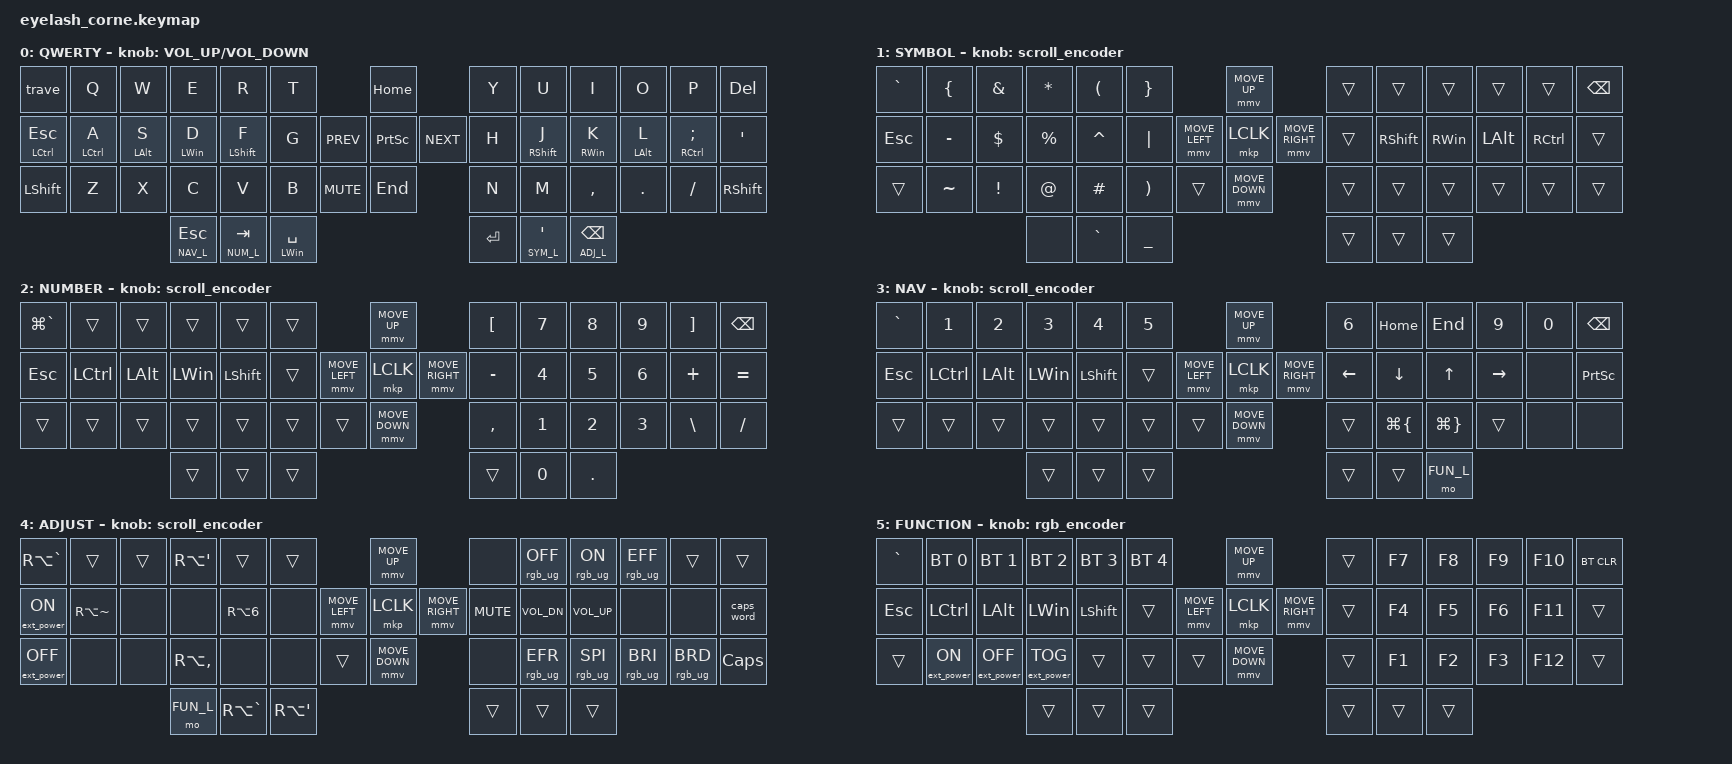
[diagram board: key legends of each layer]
/*
 * Copyright (c) 2020 The ZMK Contributors
 *
 * SPDX-License-Identifier: MIT
 */

#define ZMK_POINTING_DEFAULT_MOVE_VAL 1200  // 600
#define ZMK_POINTING_DEFAULT_SCRL_VAL 25   // 10

#include <input/processors.dtsi>
#include <zephyr/dt-bindings/input/input-event-codes.h>

#include "zmk-helpers/helper.h"
#include "zmk-helpers/key-labels/eyelash42.h"         // keyposition helpers for Eyelash Corne

#include <behaviors.dtsi>
#include <dt-bindings/zmk/keys.h>
#include <dt-bindings/zmk/bt.h>
#include <dt-bindings/zmk/outputs.h>
#include <dt-bindings/zmk/pointing.h>
#include <dt-bindings/zmk/rgb.h>
#include <dt-bindings/zmk/ext_power.h>

#define QWERTY_L 0
#define SYM_L    1
#define NUM_L    2
#define NAV_L    3
#define ADJ_L    4
#define FUN_L    5
#define Undo   LC(Z)
#define Cut    LC(X)
#define Copy   LC(C)
#define Paste  LC(V)
#define QUICK_TAP_MS 175
#define KEYS_L LB0 LB1 LB2 LB3 LB4 LB5 LM0 LM1 LM2 LM3 LM4 LM5 LT0 LT1 LT2 LT3 LT4 LT5
#define KEYS_R RB0 RB1 RB2 RB3 RB4 RB5 RM0 RM1 RM2 RM3 RM4 RM5 RT0 RT1 RT2 RT3 RT4 RT5
#define THUMBS LH2 LH1 LH0 RH0 RH1 RH2

#include "macros.dtsi"
#include "combos.dtsi"

// Configure mouse/scroll input listeners
&mmv_input_listener { input-processors = <&zip_xy_scaler 2 1>; };

&msc_input_listener { input-processors = <&zip_scroll_scaler 2 1>; };

&msc {
    acceleration-exponent = <1>;      // 0
    time-to-max-speed-ms = <100>;       // 300
    delay-ms = <0>;                   // 0
};

&mmv {
    time-to-max-speed-ms = <500>;
    acceleration-exponent = <1>;
    trigger-period-ms = <16>;
};

&soft_off { hold-time-ms = <2000>; };

// reuse basic mod-morph scheme
#define SIMPLE_MORPH(NAME, MOD, BINDING1, BINDING2) \
    ZMK_BEHAVIOR(NAME, mod_morph, \
        mods = <(MOD_L ## MOD|MOD_R ## MOD)>; \
        bindings = <BINDING1>, <BINDING2>; \
    )

SIMPLE_MORPH(lpar_lt, SFT, &kp LPAR, &kp LT)
SIMPLE_MORPH(rpar_gt, SFT, &kp RPAR, &kp GT)

#define MAKE_HRM(NAME, HOLD, TAP, TRIGGER_POS) \
    ZMK_BEHAVIOR(NAME, hold_tap, \
        flavor = "balanced"; \
        tapping-term-ms = <280>; \
        quick-tap-ms = <QUICK_TAP_MS>; \
        require-prior-idle-ms = <50>; \
        bindings = <HOLD>, <TAP>; \
        hold-trigger-key-positions = <TRIGGER_POS>; \
        hold-trigger-on-release; \
    )
MAKE_HRM(hml, &kp, &kp, KEYS_R THUMBS)  // left-hand HRMs
MAKE_HRM(hmr, &kp, &kp, KEYS_L THUMBS)  // right-hand HRMs

&caps_word {
    continue-list = <UNDERSCORE MINUS>;
};

&lt{
    flavor = "hold-preferred";
};

&mt{
    flavor = "tap-unless-interrupted";
    tapping-term-ms = <400>;
};

/ {
        behaviors {
            trave: tab_grave {
                compatible = "zmk,behavior-mod-morph";
                #binding-cells = <0>;
                bindings = <&kp TAB>, <&kp GRAVE>;

                mods = <(MOD_LCTL|MOD_RCTL)>;
            };
        };

        rgb_encoder: rgb_encoder {
            compatible = "zmk,behavior-sensor-rotate";
            #sensor-binding-cells = <0>;
            bindings = <&rgb_ug RGB_BRI>, <&rgb_ug RGB_BRD>;
        };

        scroll_encoder: scroll_encoder {
            compatible = "zmk,behavior-sensor-rotate";
            #sensor-binding-cells = <0>;
            bindings = <&msc SCRL_DOWN>, <&msc SCRL_UP>;

            tap-ms = <100>;
        };

        combos {
            compatible = "zmk,combos";

            softoff {
                bindings = <&soft_off>;
                key-positions = <1 15 29>;
            };
        };

        keymap {
                compatible = "zmk,keymap";

                default_layer {
                        display-name = "QWERTY";
                        bindings = <
//        ┌─────────────┬─────────────┬─────────────┬──────────────┬──────────────┬─────────────┐      ┌──────┐      ┌─────┬─────────────┬───────────────┬─────────────┬─────────────┬──────┐
//        │   &trave    │      Q      │      W      │      E       │      R       │      T      │      │ home │      │  Y  │      U      │       I       │      O      │      P      │ del  │
//        ├─────────────┼─────────────┼─────────────┼──────────────┼──────────────┼─────────────┼──────┼──────┼──────┼─────┼─────────────┼───────────────┼─────────────┼─────────────┼──────┤
//        │ mt lctl esc │ &hml lctl A │ &hml lalt S │ &hml lgui D  │ &hml lsft F  │      G      │ prev │ pscr │ next │  H  │ &hmr rsft J │  &hmr rgui K  │ &hmr lalt L │ &hmr rctl ; │  '   │
//        ├─────────────┼─────────────┼─────────────┼──────────────┼──────────────┼─────────────┼──────┼──────┼──────┼─────┼─────────────┼───────────────┼─────────────┼─────────────┼──────┤
//        │    lsft     │      Z      │      X      │      C       │      V       │      B      │ mute │ end  │      │  N  │      M      │       ,       │      .      │      /      │ rsft │
//        └─────────────┴─────────────┴─────────────┼──────────────┼──────────────┼─────────────┼──────┴──────┘      ├─────┼─────────────┼───────────────┼─────────────┴─────────────┴──────┘
//                                                  │ lt NAV_L esc │ lt NUM_L tab │ mt lgui spc │                    │ ent │ lt SYM_L '  │ lt ADJ_L bspc │
//                                                  └──────────────┴──────────────┴─────────────┘                    └─────┴─────────────┴───────────────┘
      &trave          &kp Q          &kp W             &kp E             &kp R           &kp T                             &kp HOME                 &kp Y       &kp U                    &kp I              &kp O             &kp P             &kp DEL
      &mt LCTRL ESC   &hml LCTRL A   &hml LEFT_ALT S   &hml LEFT_WIN D   &hml LSHIFT F   &kp G                &kp C_PREV   &kp PSCRN   &kp C_NEXT   &kp H       &hmr RSHIFT J            &hmr RIGHT_WIN K   &hmr LEFT_ALT L   &hmr RCTRL SEMI   &kp SINGLE_QUOTE
      &kp LSHFT       &kp Z          &kp X             &kp C             &kp V           &kp B                &kp C_MUTE   &kp END                  &kp N       &kp M                    &kp COMMA          &kp DOT           &kp FSLH          &kp RSHFT
                                                       &lt NAV_L ESC     &lt NUM_L TAB   &mt LEFT_WIN SPACE                                         &kp ENTER   &lt SYM_L SINGLE_QUOTE   &lt ADJ_L BSPC
                        >;

                        sensor-bindings = <&inc_dec_kp C_VOLUME_UP C_VOLUME_DOWN>;
                };
                sym_layer {
                        display-name = "SYMBOL";
                        bindings = <
//        ┌─────┬───┬───┬─────┬───┬───┐                ┌────────────────┐                ┌─────┬──────┬──────┬──────┬──────┬──────┐
//        │  `  │ { │ & │  *  │ ( │ } │                │  &mmv MOVE_up  │                │     │      │      │      │      │ bspc │
//        ├─────┼───┼───┼─────┼───┼───┼────────────────┼────────────────┼────────────────┼─────┼──────┼──────┼──────┼──────┼──────┤
//        │ esc │ - │ $ │  %  │ ^ │ | │ &mmv MOVE_left │      lclk      │ &mmv MOVE_rght │     │ rsft │ rgui │ lalt │ rctl │      │
//        ├─────┼───┼───┼─────┼───┼───┼────────────────┼────────────────┼────────────────┼─────┼──────┼──────┼──────┼──────┼──────┤
//        │     │ ~ │ ! │  @  │ # │ ) │                │ &mmv MOVE_down │                │     │      │      │      │      │      │
//        └─────┴───┴───┼─────┼───┼───┼────────────────┴────────────────┘                ├─────┼──────┼──────┼──────┴──────┴──────┘
//                      │     │ ` │ _ │                                                  │     │      │      │
//                      └─────┴───┴───┘                                                  └─────┴──────┴──────┘
      &kp GRAVE   &kp LEFT_BRACE   &kp AMPERSAND   &kp ASTRK     &kp LEFT_PARENTHESIS   &kp RIGHT_BRACE                          &mmv MOVE_UP                       &trans   &trans            &trans          &trans         &trans      &kp BACKSPACE
      &kp ESC     &kp MINUS        &kp DOLLAR      &kp PERCENT   &kp CARET              &kp PIPE                &mmv MOVE_LEFT   &mkp LCLK        &mmv MOVE_RIGHT   &trans   &kp RIGHT_SHIFT   &kp RIGHT_WIN   &kp LEFT_ALT   &kp RCTRL   &trans
      &trans      &kp TILDE        &kp EXCL        &kp AT        &kp HASH               &kp RIGHT_PARENTHESIS   &trans           &mmv MOVE_DOWN                     &trans   &trans            &trans          &trans         &trans      &trans
                                                   &none         &kp GRAVE              &kp UNDER                                                                   &trans   &trans            &trans
                        >;

                        sensor-bindings = <&scroll_encoder>;
                };
                num_layer {
                        display-name = "NUMBER";
                        bindings = <
//        ┌─────────┬──────────────┬──────┬──────┬──────┬─────┐                ┌────────────────┐                ┌─────┬───┬───┬───┬───┬──────┐
//        │ lgui(`) │              │      │      │      │     │                │  &mmv MOVE_up  │                │  [  │ 7 │ 8 │ 9 │ ] │ bspc │
//        ├─────────┼──────────────┼──────┼──────┼──────┼─────┼────────────────┼────────────────┼────────────────┼─────┼───┼───┼───┼───┼──────┤
//        │   esc   │ left_CONTROL │ lalt │ lgui │ lsft │     │ &mmv MOVE_left │      lclk      │ &mmv MOVE_rght │  -  │ 4 │ 5 │ 6 │ + │  =   │
//        ├─────────┼──────────────┼──────┼──────┼──────┼─────┼────────────────┼────────────────┼────────────────┼─────┼───┼───┼───┼───┼──────┤
//        │         │              │      │      │      │     │                │ &mmv MOVE_down │                │  ,  │ 1 │ 2 │ 3 │ \ │  /   │
//        └─────────┴──────────────┴──────┼──────┼──────┼─────┼────────────────┴────────────────┘                ├─────┼───┼───┼───┴───┴──────┘
//                                        │      │      │     │                                                  │     │ 0 │ . │
//                                        └──────┴──────┴─────┘                                                  └─────┴───┴───┘
      &kp LG(GRAVE)   &trans             &trans         &trans         &trans           &trans                    &mmv MOVE_UP                       &kp LEFT_BRACKET   &kp N7         &kp N8         &kp N9         &kp RIGHT_BRACKET   &kp BACKSPACE
      &kp ESC         &kp LEFT_CONTROL   &kp LEFT_ALT   &kp LEFT_WIN   &kp LEFT_SHIFT   &trans   &mmv MOVE_LEFT   &mkp LCLK        &mmv MOVE_RIGHT   &kp MINUS          &kp NUMBER_4   &kp NUMBER_5   &kp NUMBER_6   &kp PLUS            &kp EQUAL
      &trans          &trans             &trans         &trans         &trans           &trans   &trans           &mmv MOVE_DOWN                     &kp COMMA          &kp NUMBER_1   &kp NUMBER_2   &kp NUMBER_3   &kp BACKSLASH       &kp SLASH
                                                        &trans         &trans           &trans                                                       &trans             &kp N0         &kp DOT
                        >;

                        sensor-bindings = <&scroll_encoder>;
                };
                nav_layer {
                    display-name = "NAV";
                    bindings = <
//        ┌─────┬──────────────┬──────┬──────┬──────┬─────┐                ┌────────────────┐                ┌──────┬─────────┬──────────┬──────┬─────┬──────┐
//        │  `  │      1       │  2   │  3   │  4   │  5  │                │  &mmv MOVE_up  │                │  6   │  home   │   end    │  9   │  0  │ bspc │
//        ├─────┼──────────────┼──────┼──────┼──────┼─────┼────────────────┼────────────────┼────────────────┼──────┼─────────┼──────────┼──────┼─────┼──────┤
//        │ esc │ left_CONTROL │ lalt │ lgui │ lsft │     │ &mmv MOVE_left │      lclk      │ &mmv MOVE_rght │ left │  down   │    up    │ rght │     │ pscr │
//        ├─────┼──────────────┼──────┼──────┼──────┼─────┼────────────────┼────────────────┼────────────────┼──────┼─────────┼──────────┼──────┼─────┼──────┤
//        │     │              │      │      │      │     │                │ &mmv MOVE_down │                │      │ lgui({) │ lgui(})  │      │     │      │
//        └─────┴──────────────┴──────┼──────┼──────┼─────┼────────────────┴────────────────┘                ├──────┼─────────┼──────────┼──────┴─────┴──────┘
//                                    │      │      │     │                                                  │      │         │ mo FUN_L │
//                                    └──────┴──────┴─────┘                                                  └──────┴─────────┴──────────┘
      &kp GRAVE   &kp N1             &kp N2         &kp N3         &kp N4           &kp N5                    &mmv MOVE_UP                       &kp N6           &kp HOME             &kp END               &kp N9            &kp N0   &kp BACKSPACE
      &kp ESC     &kp LEFT_CONTROL   &kp LEFT_ALT   &kp LEFT_WIN   &kp LEFT_SHIFT   &trans   &mmv MOVE_LEFT   &mkp LCLK        &mmv MOVE_RIGHT   &kp LEFT_ARROW   &kp DOWN_ARROW       &kp UP_ARROW          &kp RIGHT_ARROW   &none    &kp PSCRN
      &trans      &trans             &trans         &trans         &trans           &trans   &trans           &mmv MOVE_DOWN                     &trans           &kp LG(LEFT_BRACE)   &kp LG(RIGHT_BRACE)   &trans            &none    &none
                                                    &trans         &trans           &trans                                                       &trans           &trans               &mo FUN_L
                    >;

                    sensor-bindings = <&scroll_encoder>;
                };

                adj_layer {
                    display-name = "ADJUST";
                    bindings = <
//        ┌──────────┬─────────┬─────┬──────────┬─────────┬─────────┐                ┌────────────────┐                ┌──────┬─────────┬─────────┬─────────┬─────────┬───────┐
//        │ ralt(`)  │         │     │ ralt(')  │         │         │                │  &mmv MOVE_up  │                │      │ ug_ off │ ug_ on  │ ug_ eff │         │       │
//        ├──────────┼─────────┼─────┼──────────┼─────────┼─────────┼────────────────┼────────────────┼────────────────┼──────┼─────────┼─────────┼─────────┼─────────┼───────┤
//        │ epwr_ on │ ralt(~) │     │          │ ralt(6) │         │ &mmv MOVE_left │      lclk      │ &mmv MOVE_rght │ mute │  vold   │  volu   │         │         │ capsw │
//        ├──────────┼─────────┼─────┼──────────┼─────────┼─────────┼────────────────┼────────────────┼────────────────┼──────┼─────────┼─────────┼─────────┼─────────┼───────┤
//        │ epwr_ on │         │     │ ralt(,)  │         │         │                │ &mmv MOVE_down │                │      │ ug_ efr │ ug_ sp+ │ ug_ br+ │ ug_ br- │ caps  │
//        └──────────┴─────────┴─────┼──────────┼─────────┼─────────┼────────────────┴────────────────┘                ├──────┼─────────┼─────────┼─────────┴─────────┴───────┘
//                                   │ mo FUN_L │ ralt(`) │ ralt(') │                                                  │      │         │         │
//                                   └──────────┴─────────┴─────────┘                                                  └──────┴─────────┴─────────┘
      &kp RA(GRAVE)       &trans          &trans   &kp RA(SINGLE_QUOTE)   &trans             &trans                                  &mmv MOVE_UP                       &none        &rgb_ug RGB_OFF   &rgb_ug RGB_ON    &rgb_ug RGB_EFF   &trans            &trans
      &ext_power EP_ON    &kp RA(TILDE)   &none    &none                  &kp RA(NUMBER_6)   &none                  &mmv MOVE_LEFT   &mkp LCLK        &mmv MOVE_RIGHT   &kp C_MUTE   &kp C_VOL_DN      &kp C_VOL_UP      &none             &none             &caps_word
      &ext_power EP_OFF   &none           &none    &kp RA(COMMA)          &none              &none                  &trans           &mmv MOVE_DOWN                     &none        &rgb_ug RGB_EFR   &rgb_ug RGB_SPI   &rgb_ug RGB_BRI   &rgb_ug RGB_BRD   &kp CAPS
                                                   &mo FUN_L              &kp RA(GRAVE)      &kp RA(SINGLE_QUOTE)                                                       &trans       &trans            &trans
                    >;

                    sensor-bindings = <&scroll_encoder>;
                };

                fun_layer {
                    display-name = "FUNCTION";
                    bindings = <
//        ┌─────┬──────────────┬──────────┬───────────┬──────────┬──────────┐                ┌────────────────┐                ┌─────┬─────┬─────┬────┬─────┬────────┐
//        │  `  │   bt_sel 0   │ bt_sel 1 │ bt_sel 2  │ bt_sel 3 │ bt_sel 4 │                │  &mmv MOVE_up  │                │     │ f7  │ f8  │ f9 │ f10 │ bt_clr │
//        ├─────┼──────────────┼──────────┼───────────┼──────────┼──────────┼────────────────┼────────────────┼────────────────┼─────┼─────┼─────┼────┼─────┼────────┤
//        │ esc │ left_CONTROL │   lalt   │   lgui    │   lsft   │          │ &mmv MOVE_left │      lclk      │ &mmv MOVE_rght │     │ f4  │ f5  │ f6 │ f11 │        │
//        ├─────┼──────────────┼──────────┼───────────┼──────────┼──────────┼────────────────┼────────────────┼────────────────┼─────┼─────┼─────┼────┼─────┼────────┤
//        │     │   epwr_ on   │ epwr_ on │ epwr_ tog │          │          │                │ &mmv MOVE_down │                │     │ f1  │ f2  │ f3 │ f12 │        │
//        └─────┴──────────────┴──────────┼───────────┼──────────┼──────────┼────────────────┴────────────────┘                ├─────┼─────┼─────┼────┴─────┴────────┘
//                                        │           │          │          │                                                  │     │     │     │
//                                        └───────────┴──────────┴──────────┘                                                  └─────┴─────┴─────┘
      &kp GRAVE   &bt BT_SEL 0       &bt BT_SEL 1        &bt BT_SEL 2        &bt BT_SEL 3     &bt BT_SEL 4                    &mmv MOVE_UP                       &trans   &kp F7   &kp F8   &kp F9   &kp F10   &bt BT_CLR
      &kp ESC     &kp LEFT_CONTROL   &kp LEFT_ALT        &kp LEFT_WIN        &kp LEFT_SHIFT   &trans         &mmv MOVE_LEFT   &mkp LCLK        &mmv MOVE_RIGHT   &trans   &kp F4   &kp F5   &kp F6   &kp F11   &trans
      &trans      &ext_power EP_ON   &ext_power EP_OFF   &ext_power EP_TOG   &trans           &trans         &trans           &mmv MOVE_DOWN                     &trans   &kp F1   &kp F2   &kp F3   &kp F12   &trans
                                                         &trans              &trans           &trans                                                             &trans   &trans   &trans
                    >;

                    sensor-bindings = <&rgb_encoder>;
                };
        };
};
